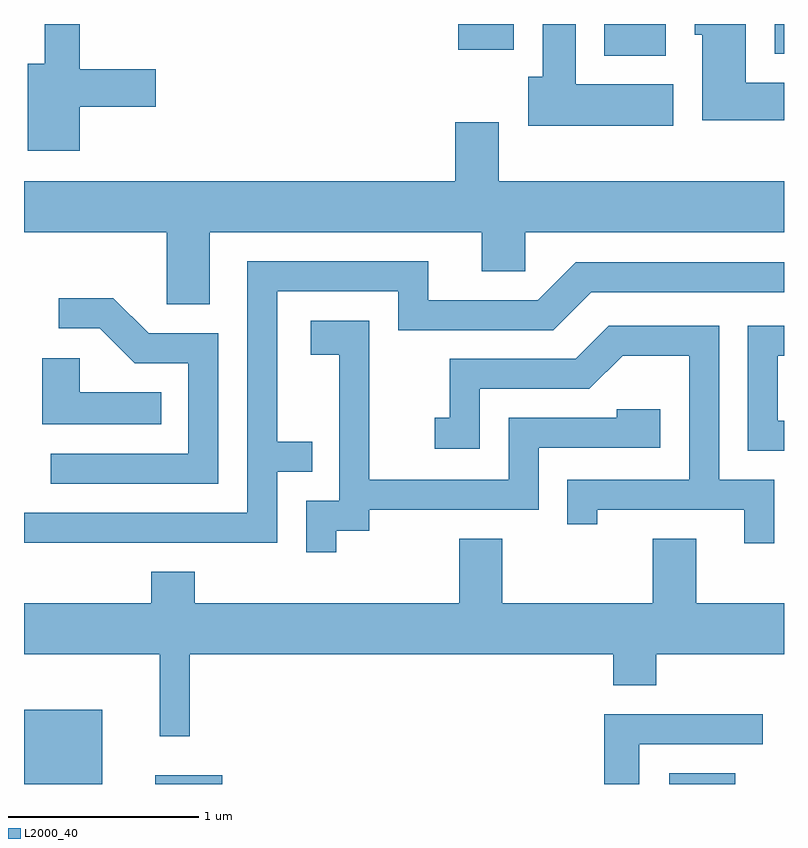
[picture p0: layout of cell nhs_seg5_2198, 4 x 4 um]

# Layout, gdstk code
import gdstk
lib = gdstk.Library(unit=1e-6, precision=1e-09)
def R(c, l, rs):  # rectangles x0, y0, x1, y1
    for r in rs: c.add(gdstk.rectangle(r[:2], r[2:], *l))
def P(c, l, *ps):  # polygons
    for p in ps: c.add(gdstk.Polygon(p, *l))
L2000_40 = (2000, 40)

nhs_seg5_2198 = lib.new_cell('nhs_seg5_2198')
R(nhs_seg5_2198, L2000_40, [(249.611,1496.072,250.024,1496.464), (250.301,1496.072,250.654,1496.119), (253.006,1496.072,253.354,1496.129), (252.666,1499.906,252.989,1500.072), (253.561,1499.916,253.611,1500.072), (251.896,1499.936,252.189,1500.072)])
P(nhs_seg5_2198, L2000_40, [(249.904,1499.636),(250.304,1499.636),(250.304,1499.834),(249.904,1499.834),(249.904,1500.072),(249.721,1500.072),(249.721,1499.864),(249.631,1499.864),(249.631,1499.406),(249.904,1499.406)],
  [(253.611,1499.764),(253.409,1499.764),(253.409,1500.072),(253.141,1500.072),(253.141,1500.016),(253.181,1500.016),(253.181,1499.566),(253.611,1499.566)],
  [(253.029,1499.754),(252.514,1499.754),(252.514,1500.072),(252.341,1500.072),(252.341,1499.794),(252.266,1499.794),(252.266,1499.536),(253.029,1499.536)],
  [(250.589,1498.976),(252.021,1498.976),(252.021,1498.771),(252.249,1498.771),(252.249,1498.976),(253.611,1498.976),(253.611,1499.244),(252.109,1499.244),(252.109,1499.554),(251.881,1499.554),(251.881,1499.244),(249.611,1499.244),(249.611,1498.976),(250.361,1498.976),(250.361,1498.596),(250.589,1498.596)],
  [(250.944,1497.716),(251.128,1497.716),(251.128,1497.874),(250.944,1497.874),(250.944,1498.666),(251.581,1498.666),(251.581,1498.461),(252.397,1498.461),(252.597,1498.661),(253.611,1498.661),(253.611,1498.819),(252.514,1498.819),(252.314,1498.619),(251.739,1498.619),(251.739,1498.824),(250.786,1498.824),(250.786,1497.499),(249.611,1497.499),(249.611,1497.341),(250.944,1497.341)],
  [(250.634,1498.444),(250.267,1498.444),(250.082,1498.629),(249.793,1498.629),(249.793,1498.471),(250.009,1498.471),(250.194,1498.286),(250.476,1498.286),(250.476,1497.809),(249.753,1497.809),(249.753,1497.651),(250.634,1497.651)],
  [(251.254,1497.406),(251.429,1497.406),(251.429,1497.516),(252.319,1497.516),(252.319,1497.841),(252.959,1497.841),(252.959,1498.044),(252.731,1498.044),(252.731,1497.999),(252.161,1497.999),(252.161,1497.674),(251.429,1497.674),(251.429,1498.509),(251.121,1498.509),(251.121,1498.331),(251.271,1498.331),(251.271,1497.564),(251.096,1497.564),(251.096,1497.293),(251.254,1497.293)],
  [(253.611,1497.984),(253.579,1497.984),(253.579,1498.326),(253.611,1498.326),(253.611,1498.484),(253.421,1498.484),(253.421,1497.826),(253.611,1497.826)],
  [(253.559,1497.674),(253.269,1497.674),(253.269,1498.484),(252.689,1498.484),(252.514,1498.309),(251.851,1498.309),(251.851,1497.999),(251.773,1497.999),(251.773,1497.836),(252.009,1497.836),(252.009,1498.151),(252.587,1498.151),(252.762,1498.326),(253.111,1498.326),(253.111,1497.674),(252.471,1497.674),(252.471,1497.438),(252.629,1497.438),(252.629,1497.516),(253.401,1497.516),(253.401,1497.338),(253.559,1497.338)],
  [(250.333,1498.134),(249.904,1498.134),(249.904,1498.314),(249.706,1498.314),(249.706,1497.966),(250.333,1497.966)],
  [(250.484,1496.756),(252.711,1496.756),(252.711,1496.591),(252.939,1496.591),(252.939,1496.756),(253.611,1496.756),(253.611,1497.024),(253.149,1497.024),(253.149,1497.364),(252.921,1497.364),(252.921,1497.024),(252.129,1497.024),(252.129,1497.364),(251.901,1497.364),(251.901,1497.024),(250.509,1497.024),(250.509,1497.189),(250.281,1497.189),(250.281,1497.024),(249.611,1497.024),(249.611,1496.756),(250.326,1496.756),(250.326,1496.323),(250.484,1496.323)],
  [(252.849,1496.281),(253.498,1496.281),(253.498,1496.439),(252.666,1496.439),(252.666,1496.072),(252.849,1496.072)])

lib.write_gds('nhs_seg5_2198.gds')
